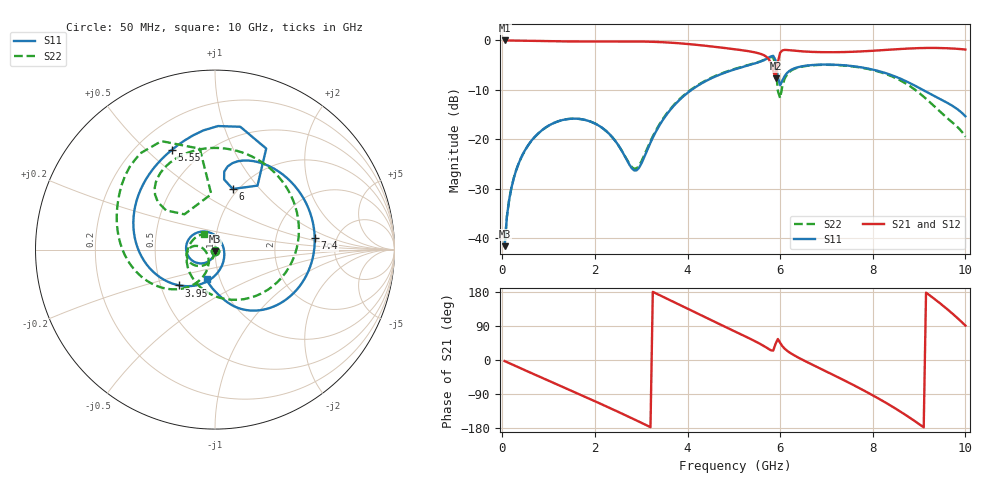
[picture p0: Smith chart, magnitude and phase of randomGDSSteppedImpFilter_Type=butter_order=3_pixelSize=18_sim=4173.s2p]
! freq	dB(S11)	phase(S11)	dB(S12)	phase(S12)
!  dB(S21)	phase(S21)	dB(S22)	phase(S22)
!S-par simulation data
#  GHz  S  DB  R 50
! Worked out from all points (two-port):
!   200 points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, 50 MHz to 10 GHz, reference 50 ohm
!   highest |S21| = -0.01 dB at 50 MHz (marker M1); lowest = -7.7 dB at 5.9 GHz (marker M2)
!   |S21| within 3 dB of the highest: start of sweep to 5.652 GHz; 5.986 GHz to end of sweep
!   lowest |S11| = -41.6 dB at 50 MHz (marker M3), VSWR 1.02, Z = 50 - j0.826 ohm
!   |S11| at or under -10 dB: start of sweep to 4.088 GHz; 9.079 GHz to end of sweep
!   |S22| runs from -41.5 to -3.4 dB; largest |S21 - S12| = 0
!   S11 on the Smith chart (normalised r, x): 50 MHz: 1.00, -0.02; 3.95 GHz: 0.62, -0.27; 5.55 GHz: 0.34, +0.60; 6 GHz: 0.95, +0.73; 7.4 GHz: 3.41, +0.64; 10 GHz: 0.86, -0.29
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0.05  -41.65 -92.6  -0.01 -2.8  -0.01 -2.8  -41.52 -90.4
0.2  -29.73 -102.1  -0.02 -11.1  -0.02 -11.1  -29.69 -99.7
0.5  -22.08 -120.8  -0.06 -27.5  -0.06 -27.5  -22.10 -114.8
1.15  -16.57 -161.0  -0.17 -62.8  -0.17 -62.8  -16.57 -146.0
1.75  -16.02 160.5  -0.22 -95.2  -0.22 -95.2  -16.02 -172.3
2.85  -26.32 24.0  -0.20 -156.7  -0.20 -156.7  -25.98 -157.1
3.4  -17.09 -88.0  -0.34 170.9  -0.34 170.9  -16.88 -112.3
3.95  -11.00 -134.9  -0.68 138.2  -0.68 138.2  -10.87 -130.4
4.5  -7.73 -174.5  -1.20 105.8  -1.20 105.8  -7.62 -155.1
5.05  -5.77 148.2  -1.82 73.9  -1.82 73.9  -5.68 178.8
5.55  -4.37 113.6  -2.64 43.6  -2.64 43.6  -4.31 152.1
5.8  -3.24 88.6  -4.54 25.5  -4.54 25.5  -3.36 127.8
5.9  -4.00 63.1  -7.69 42.5  -7.69 42.5  -4.91 98.6
6  -9.07 73.7  -2.48 45.4  -2.48 45.4  -11.69 130.9
6.2  -6.17 78.6  -1.98 20.1  -1.98 20.1  -6.38 134.4
6.7  -4.98 47.8  -2.33 -12.7  -2.33 -12.7  -5.03 105.9
7.4  -5.05 6.6  -2.35 -54.7  -2.35 -54.7  -5.10 65.3
8.35  -6.84 -44.3  -1.89 -117.7  -1.89 -117.7  -7.04 -4.0
8.85  -8.86 -66.4  -1.61 -156.4  -1.61 -156.4  -9.56 -53.7
9.25  -10.86 -79.3  -1.52 168.8  -1.52 168.8  -12.66 -106.0
9.6  -12.59 -89.3  -1.58 134.9  -1.58 134.9  -15.66 -164.2
10  -15.35 -105.9  -1.84 90.9  -1.84 90.9  -19.49 125.8
